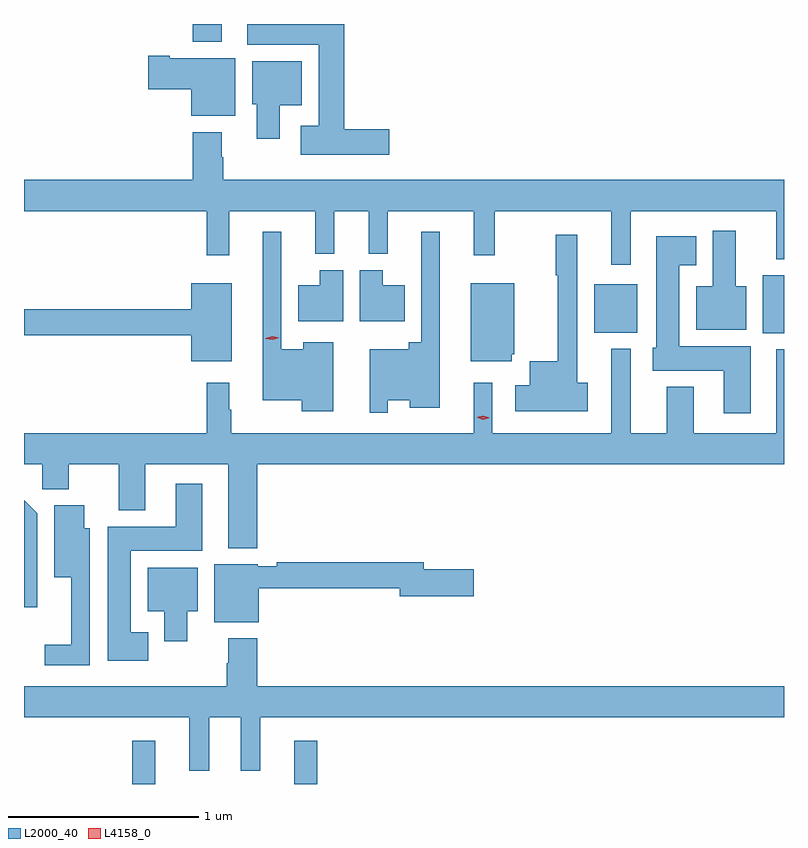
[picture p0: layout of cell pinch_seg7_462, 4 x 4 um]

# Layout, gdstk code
import gdstk
lib = gdstk.Library(unit=1e-6, precision=1e-09)
def R(c, l, rs):  # rectangles x0, y0, x1, y1
    for r in rs: c.add(gdstk.rectangle(r[:2], r[2:], *l))
def P(c, l, *ps):  # polygons
    for p in ps: c.add(gdstk.Polygon(p, *l))
L2000_40 = (2000, 40)
L4158_0 = (4158, 0)

pinch_seg7_462 = lib.new_cell('pinch_seg7_462')
R(pinch_seg7_462, L2000_40, [(217.662,1069.529,217.783,1069.756), (218.513,1069.529,218.635,1069.756), (220.979,1071.902,221.091,1072.207), (220.091,1071.905,220.318,1072.159), (217.979,1073.435,218.131,1073.529)])
P(pinch_seg7_462, L2000_40, [(219.013,1072.976),(218.777,1072.976),(218.777,1073.529),(218.267,1073.529),(218.267,1073.42),(218.642,1073.42),(218.642,1072.993),(218.547,1072.993),(218.547,1072.841),(219.013,1072.841)],
  [(218.203,1073.35),(217.858,1073.35),(217.858,1073.363),(217.746,1073.363),(217.746,1073.185),(217.97,1073.185),(217.97,1073.045),(218.203,1073.045)],
  [(218.437,1073.102),(218.554,1073.102),(218.554,1073.332),(218.291,1073.332),(218.291,1073.106),(218.315,1073.106),(218.315,1072.926),(218.437,1072.926)],
  [(220.285,1072.544),(221.051,1072.544),(221.051,1072.292),(221.091,1072.292),(221.091,1072.708),(218.139,1072.708),(218.139,1072.829),(218.131,1072.829),(218.131,1072.96),(217.979,1072.96),(217.979,1072.708),(217.091,1072.708),(217.091,1072.544),(218.053,1072.544),(218.053,1072.311),(218.171,1072.311),(218.171,1072.544),(218.624,1072.544),(218.624,1072.319),(218.723,1072.319),(218.723,1072.544),(218.906,1072.544),(218.906,1072.319),(219.005,1072.319),(219.005,1072.544),(219.458,1072.544),(219.458,1072.311),(219.568,1072.311),(219.568,1072.544),(220.181,1072.544),(220.181,1072.263),(220.285,1072.263)],
  [(220.891,1072.15),(220.837,1072.15),(220.837,1072.441),(220.715,1072.441),(220.715,1072.15),(220.628,1072.15),(220.628,1071.92),(220.891,1071.92)],
  [(218.719,1071.853),(218.561,1071.853),(218.561,1071.817),(218.445,1071.817),(218.445,1072.435),(218.348,1072.435),(218.348,1071.548),(218.554,1071.548),(218.554,1071.491),(218.719,1071.491)],
  [(219.006,1071.548),(219.122,1071.548),(219.122,1071.509),(219.28,1071.509),(219.28,1072.435),(219.183,1072.435),(219.183,1071.853),(219.115,1071.853),(219.115,1071.817),(218.91,1071.817),(218.91,1071.483),(219.006,1071.483)],
  [(220.057,1071.641),(220.003,1071.641),(220.003,1072.42),(219.889,1072.42),(219.889,1072.207),(219.899,1072.207),(219.899,1071.754),(219.752,1071.754),(219.752,1071.628),(219.677,1071.628),(219.677,1071.491),(220.057,1071.491)],
  [(220.915,1071.832),(220.54,1071.832),(220.54,1072.259),(220.63,1072.259),(220.63,1072.411),(220.418,1072.411),(220.418,1071.825),(220.4,1071.825),(220.4,1071.704),(220.775,1071.704),(220.775,1071.48),(220.915,1071.48)],
  [(218.77,1072.234),(218.648,1072.234),(218.648,1072.153),(218.534,1072.153),(218.534,1071.965),(218.77,1071.965)],
  [(219.094,1072.153),(218.98,1072.153),(218.98,1072.234),(218.858,1072.234),(218.858,1071.965),(219.094,1071.965)],
  [(219.658,1071.792),(219.67,1071.792),(219.67,1072.165),(219.443,1072.165),(219.443,1071.755),(219.658,1071.755)],
  [(218.185,1072.165),(217.97,1072.165),(217.97,1072.028),(217.091,1072.028),(217.091,1071.892),(217.97,1071.892),(217.97,1071.755),(218.185,1071.755)],
  [(218.318,1071.212),(221.091,1071.212),(221.091,1071.817),(221.051,1071.817),(221.051,1071.376),(220.615,1071.376),(220.615,1071.619),(220.475,1071.619),(220.475,1071.376),(220.285,1071.376),(220.285,1071.82),(220.181,1071.82),(220.181,1071.376),(219.555,1071.376),(219.555,1071.64),(219.458,1071.64),(219.458,1071.376),(218.182,1071.376),(218.182,1071.5),(218.17,1071.5),(218.17,1071.64),(218.053,1071.64),(218.053,1071.376),(217.091,1071.376),(217.091,1071.212),(217.188,1071.212),(217.188,1071.081),(217.327,1071.081),(217.327,1071.212),(217.589,1071.212),(217.589,1070.969),(217.729,1070.969),(217.729,1071.212),(218.165,1071.212),(218.165,1070.771),(218.318,1070.771)],
  [(217.744,1070.329),(217.654,1070.329),(217.654,1070.756),(218.029,1070.756),(218.029,1071.109),(217.889,1071.109),(217.889,1070.884),(217.532,1070.884),(217.532,1070.177),(217.744,1070.177)],
  [(217.161,1070.953),(217.091,1071.023),(217.091,1070.46),(217.161,1070.46)],
  [(217.437,1070.875),(217.408,1070.875),(217.408,1070.995),(217.25,1070.995),(217.25,1070.618),(217.34,1070.618),(217.34,1070.263),(217.2,1070.263),(217.2,1070.154),(217.437,1070.154)],
  [(218.326,1070.56),(219.068,1070.56),(219.068,1070.518),(219.457,1070.518),(219.457,1070.66),(219.196,1070.66),(219.196,1070.696),(218.422,1070.696),(218.422,1070.676),(218.322,1070.676),(218.322,1070.686),(218.093,1070.686),(218.093,1070.381),(218.326,1070.381)],
  [(217.951,1070.438),(218.005,1070.438),(218.005,1070.668),(217.742,1070.668),(217.742,1070.438),(217.829,1070.438),(217.829,1070.28),(217.951,1070.28)],
  [(218.065,1069.88),(218.231,1069.88),(218.231,1069.599),(218.335,1069.599),(218.335,1069.88),(221.091,1069.88),(221.091,1070.044),(218.318,1070.044),(218.318,1070.296),(218.165,1070.296),(218.165,1070.165),(218.158,1070.165),(218.158,1070.044),(217.091,1070.044),(217.091,1069.88),(217.961,1069.88),(217.961,1069.599),(218.065,1069.599)])
P(pinch_seg7_462, L4158_0, [(219.507,1071.447),(219.473,1071.459),(219.472,1071.459),(219.473,1071.459),(219.508,1071.467),(219.542,1071.456),(219.542,1071.456),(219.542,1071.456)],
  [(218.4,1071.866),(218.363,1071.873),(218.363,1071.874),(218.363,1071.874),(218.398,1071.886),(218.435,1071.878),(218.435,1071.878),(218.435,1071.878)])

lib.write_gds('pinch_seg7_462.gds')
